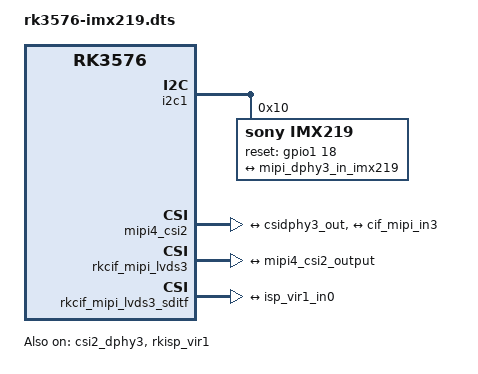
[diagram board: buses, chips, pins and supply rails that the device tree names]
/dts-v1/;
/plugin/;

/ {
    //  数据通路：imx219_i2c —> csi2_dphy0 —> mipi2_csi2 —> rkcif_mipi_lvds2 —> rkcif_mipi_lvds2_sditf —> rkisp0_vir2
	compatible = "rockchip,rk3576";

    fragment@0{
    	target = <&imx219_clk>;
         __overlay__{
            status = "okay";
            compatible = "fixed-clock";
            #clock-cells = <0>;
            clock-frequency = <24000000>;
            clock-output-names = "imx219_clk";
        };
    };

    fragment@1{
    	target = <&gpio1>;
         __overlay__{
           	compatible = "rockchip,gpio-bank";
			reg = <0x0 0x2ae10000 0x0 0x200>;
			// interrupts = <GIC_SPI 157 IRQ_TYPE_LEVEL_HIGH>;
			// clocks = <&cru PCLK_GPIO1>, <&cru DBCLK_GPIO1>;
			// gpio-controller;
			// #gpio-cells = <2>;
			// gpio-ranges = <&pinctrl 0 32 32>;
			// interrupt-controller;
			// #interrupt-cells = <2>;
        };
    };

    // 配置IMX219传感器imx219_i2c
    fragment@2 {
        target = <&i2c1>;  
        __overlay__ {
            status = "okay";
            // pinctrl-0 = <&i2c1m0_xfer>;
            #address-cells = <1>;
            #size-cells = <0>;
            imx219@10 {  
                status = "okay";
                compatible = "sony,imx219";
                reg = <0x10>; 
                clocks = <&imx219_clk>;
                reset-gpios = <&gpio1 18 GPIO_ACTIVE_HIGH>;
                rockchip,camera-module-index = <0>;
                rockchip,camera-module-facing = "back";
                rockchip,camera-module-name = "CMK-OT1980-PX1";
                rockchip,camera-module-lens-name = "SHG102";
                port {
                    imx219_out: endpoint {
                        link-frequencies = /bits/ 64 <456000000>;
                        remote-endpoint = <&mipi_dphy3_in_imx219>;
                        data-lanes = <1 2>; 
                    };
                };
            };
        };
    };

    // csi2_dphy0
    fragment@3 {
        target = <&csi2_dphy3>;  
        __overlay__ {
            status = "okay";
            // #address-cells = <1>;
            // #size-cells = <0>;
            ports {
                #address-cells = <1>;
                #size-cells = <0>;
                port@0 {
                    reg = <0>;
                    #address-cells = <1>;
                    #size-cells = <0>;
                    mipi_dphy3_in_imx219: endpoint@1 {
                            reg = <1>;
                            remote-endpoint = <&imx219_out>;
                            data-lanes = <1 2>;
                    };
                };
                port@1 {
                    reg = <1>;
                    #address-cells = <1>;
                    #size-cells = <0>;
                    csidphy3_out: endpoint@0 {
                        reg = <0>;
                        remote-endpoint = <&mipi4_csi2_input>;
                    };
                };
            };
        };
    };

    // mipi2_csi2
    fragment@4 {
        target = <&mipi4_csi2>;  
        __overlay__ {
            status = "okay";
            // #address-cells = <1>;
            // #size-cells = <0>;
            ports {
                #address-cells = <1>;
                #size-cells = <0>;
                port@0 {
                    reg = <0>;
                    #address-cells = <1>;
                    #size-cells = <0>;
                    mipi4_csi2_input: endpoint@1 {
                        reg = <1>;
                        remote-endpoint = <&csidphy3_out>;
                    };
                };

                port@1 {
                    reg = <1>;
                    #address-cells = <1>;
                    #size-cells = <0>;
                    mipi4_csi2_output: endpoint@0 {
                        reg = <0>;
                        remote-endpoint = <&cif_mipi_in3>;
                    };
                };
            };
        };
    };

    // rkcif_mipi_lvds2
    fragment@5 {
        target = <&rkcif_mipi_lvds3>;  
        __overlay__ {
            status = "okay";
            port {
                cif_mipi_in3: endpoint {
                    remote-endpoint = <&mipi4_csi2_output>;
                };
            };
        };
    };

    // rkcif_mipi_lvds2_sditf
    fragment@6 {
        target = <&rkcif_mipi_lvds3_sditf>;  
        __overlay__ {
            status = "okay";
            port {
                    mipi_lvds3_sditf: endpoint {
                    remote-endpoint = <&isp_vir1_in0>;
                };
            };
        };
    };

    // rkisp_vir1
    fragment@7 {
        target = <&rkisp_vir1>;
        __overlay__ {
            status = "okay";
            port {
                #address-cells = <1>;
                #size-cells = <0>;
                isp_vir1_in0: endpoint@0 {
                    reg = <0>;
                    remote-endpoint = <&mipi_lvds3_sditf>;
                };
            };
        };
    };




    // fragment@6 {
    //    target = <&pinctrl>;
    //     __overlay__{
    //         status = "okay";
    //         camera {
    //             cam_pwdn_gpio: cam-pwdn-gpio {
    //                 rockchip,pins = <1 RK_PC2 RK_FUNC_GPIO &pcfg_pull_up>;
    //             };
    //         };
    //     };
    // };
};

